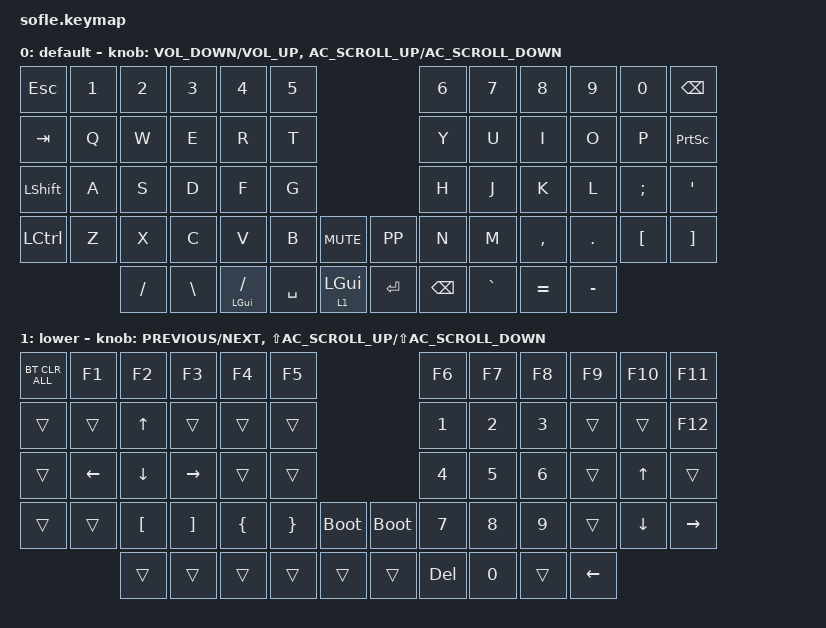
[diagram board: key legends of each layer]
/*
 * Copyright (c) 2020 The ZMK Contributors
 *
 * SPDX-License-Identifier: MIT
 */

#include <dt-bindings/zmk/behaviors.h>
#include <behaviors.dtsi>
#include <dt-bindings/zmk/bt.h>
#include <dt-bindings/zmk/keys.h>

#define BASE 0
#define LOWER 1
#define RAISE 2
#define ADJUST 3

/ {
    // Activate ADJUST layer by pressing raise and lower

    behaviors {
        lt: layer_tap {
            compatible = "zmk,behavior-hold-tap";
            #binding-cells = <2>;
            flavor = "tap-preferred";
            tapping-term-ms = <200>;
            bindings = <&mo>, <&kp>;

            display-name = "Layer-Tap";
            quick-tap-ms = <150>;
        };
    };

    conditional_layers {
        compatible = "zmk,conditional-layers";

        adjust_layer {
            if-layers = <1 1>;
            then-layer = <3>;
        };
    };

    keymap {
        compatible = "zmk,keymap";

        default_layer {
            display-name = "default";

            // ------------------------------------------------------------------------------------------------------------
            // |   `   |  1  |  2  |  3   |  4   |  5   |                   |  6   |  7    |  8    |  9   |   0   |       |
            // |  ESC  |  Q  |  W  |  E   |  R   |  T   |                   |  Y   |  U    |  I    |  O   |   P   | BKSPC |
            // |  TAB  |  A  |  S  |  D   |  F   |  G   |                   |  H   |  J    |  K    |  L   |   ;   |   '   |
            // | SHIFT |  Z  |  X  |  C   |  V   |  B   |  MUTE  |  |       |  N   |  M    |  ,    |  .   |   /   | SHIFT |
            //               | GUI | ALT  | CTRL | LOWER|  ENTER |  | SPACE | RAISE| CTRL  | ALT   | GUI  |

            bindings = <
&kp ESCAPE        &kp N1  &kp N2     &kp N3         &kp N4              &kp N5                                  &kp N6         &kp N7     &kp N8     &kp N9     &kp N0            &kp BACKSPACE
&kp TAB           &kp Q   &kp W      &kp E          &kp R               &kp T                                   &kp Y          &kp U      &kp I      &kp O      &kp P             &kp PRINTSCREEN
&kp LEFT_SHIFT    &kp A   &kp S      &kp D          &kp F               &kp G                                   &kp H          &kp J      &kp K      &kp L      &kp SEMI          &kp SINGLE_QUOTE
&kp LEFT_CONTROL  &kp Z   &kp X      &kp C          &kp V               &kp B      &kp K_MUTE        &kp K_PP   &kp N          &kp M      &kp COMMA  &kp DOT    &kp LEFT_BRACKET  &kp RIGHT_BRACKET
                          &kp SLASH  &kp BACKSLASH  &mt LEFT_GUI SLASH  &kp SPACE  &lt 1 LEFT_GUI    &kp ENTER  &kp BACKSPACE  &kp GRAVE  &kp EQUAL  &kp MINUS
            >;

            sensor-bindings =
                <&inc_dec_kp K_VOLUME_DOWN K_VOLUME_UP>,
                <&inc_dec_kp C_AC_SCROLL_UP C_AC_SCROLL_DOWN>;
        };

        lower_layer {
            display-name = "lower";

            // TODO: Some binds are waiting for shifted keycode support.
            // ------------------------------------------------------------------------------------------------------------
            // |       |  F1 |  F2 |  F3  |  F4  |  F5  |                   |  F6  |  F7   |  F8   |  F9  |  F10  |  F11  |
            // |   `   |  1  |  2  |  3   |  4   |  5   |                   |  6   |  7    |  8    |  9   |   0   |  F12  |
            // |       |  !  |  @  |  #   |  $   |  %   |                   |  ^   |  &    |  *    |  (   |   )   |   |   |
            // |       |  =  |  -  |  +   |  {   |  }   |        |  |       |  [   |  ]    |  ;    |  :   |   \   |       |
            //               |     |      |      |      |        |  |       |      |       |       |      |

            bindings = <
&bt BT_CLR_ALL  &kp F1    &kp F2            &kp F3             &kp F4          &kp F5                                       &kp F6        &kp F7        &kp F8        &kp F9    &kp F10       &kp F11
&trans          &trans    &kp UP_ARROW      &trans             &trans          &trans                                       &kp NUMBER_1  &kp NUMBER_2  &kp NUMBER_3  &trans    &trans        &kp F12
&trans          &kp LEFT  &kp DOWN_ARROW    &kp RIGHT_ARROW    &trans          &trans                                       &kp NUMBER_4  &kp NUMBER_5  &kp NUMBER_6  &trans    &kp UP_ARROW  &trans
&trans          &trans    &kp LEFT_BRACKET  &kp RIGHT_BRACKET  &kp LEFT_BRACE  &kp RIGHT_BRACE  &bootloader    &bootloader  &kp NUMBER_7  &kp NUMBER_8  &kp NUMBER_9  &trans    &kp DOWN      &kp RIGHT
                          &trans            &trans             &trans          &trans           &trans         &trans       &kp DEL       &kp NUMBER_0  &trans        &kp LEFT
            >;

            sensor-bindings =
                <&inc_dec_kp K_PREVIOUS K_NEXT>,
                <&inc_dec_kp LS(C_AC_SCROLL_UP) LS(C_AC_SCROLL_DOWN)>;
        };
    };
};
